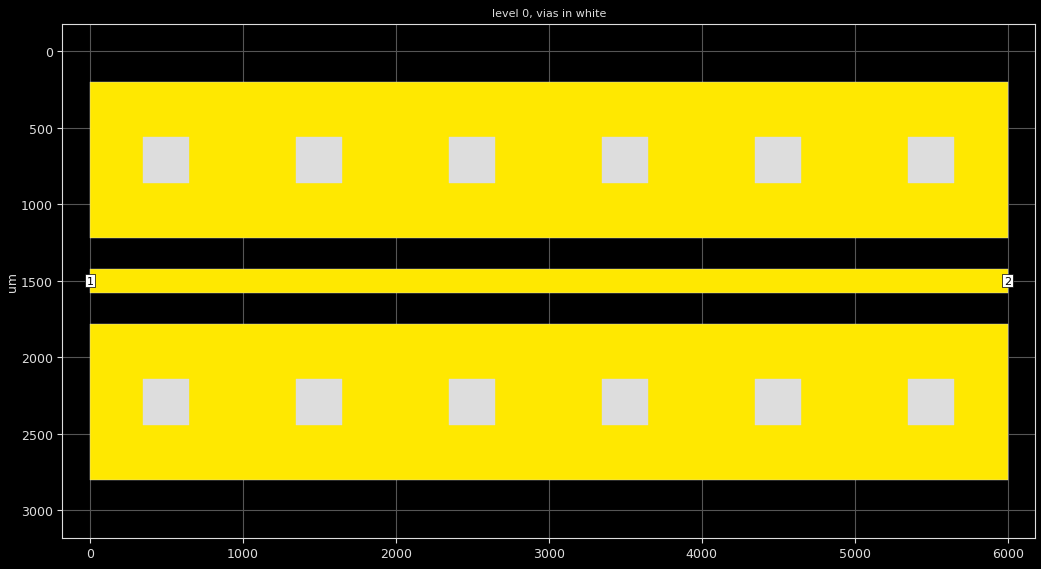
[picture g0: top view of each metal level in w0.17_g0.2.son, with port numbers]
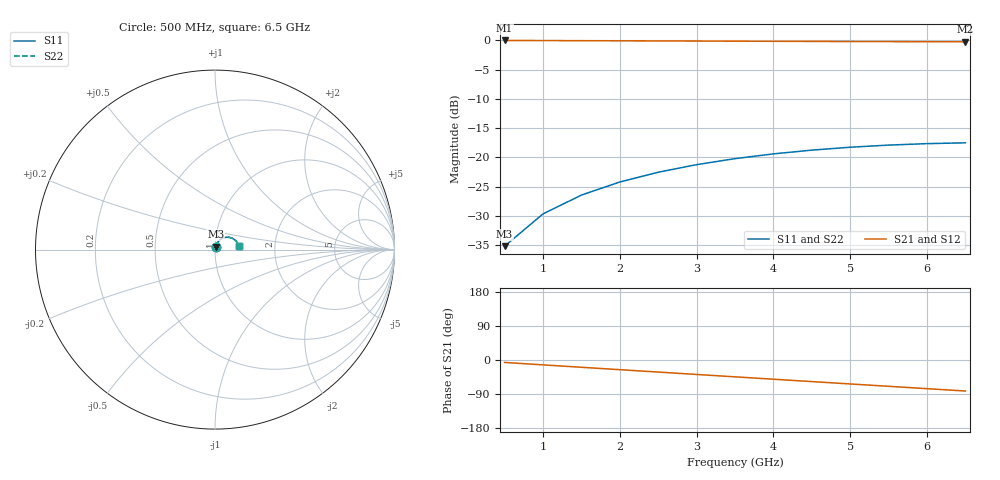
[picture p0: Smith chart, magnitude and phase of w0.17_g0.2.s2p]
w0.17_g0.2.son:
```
FTYP SONPROJ 1 ! Sonnet Project File
VER 19.54
HEADER
END HEADER
DIM
FREQ GHZ
IND NH
LNG UM
ANG DEG
CON /OH
CAP PF
RES OH
END DIM
FREQ
SWEEP 0.5 6.5 0.5
END FREQ
CONTROL
STD
OPTIONS  -d
SPEED 0
END CONTROL
GEO
TMET "Lossless" 0 SUP 0 0 0 0
BMET "Lossless" 0 SUP 0 0 0 0
MET "Cu35" 1 NOR 5.8e7 0 35
BOX 1 6000.0 3000.0 600 300 20 0
      1000.0 1 1 0 0 0 0 "Air"
      99.4 4.1000 1 0.0200 0 0 0 "PP3313"
POR1 STD
POLY 1 1
3
1 50 0 0 0 0.0 1500.0
POR1 STD
POLY 1 1
1
2 50 0 0 0 6000.0 1500.0
NUM 15
0 5 0 N 1 1 1 100 100 0 0 0 Y
0.0 1420.0
6000.0 1420.0
6000.0 1580.0
0.0 1580.0
0.0 1420.0
END
0 5 0 N 2 1 1 100 100 0 0 0 Y
0.0 200.0
6000.0 200.0
6000.0 1220.0
0.0 1220.0
0.0 200.0
END
0 5 0 N 3 1 1 100 100 0 0 0 Y
0.0 1780.0
6000.0 1780.0
6000.0 2800.0
0.0 2800.0
0.0 1780.0
END
VIA POLYGON
0 5 0 V 100 1 1 100 100 0 0 0 Y
TOLEVEL GND RING COVERS
350.0 560.0
650.0 560.0
650.0 860.0
350.0 860.0
350.0 560.0
END
VIA POLYGON
0 5 0 V 101 1 1 100 100 0 0 0 Y
TOLEVEL GND RING COVERS
350.0 2140.0
650.0 2140.0
650.0 2440.0
350.0 2440.0
350.0 2140.0
END
VIA POLYGON
0 5 0 V 102 1 1 100 100 0 0 0 Y
TOLEVEL GND RING COVERS
1350.0 560.0
1650.0 560.0
1650.0 860.0
1350.0 860.0
1350.0 560.0
END
VIA POLYGON
0 5 0 V 103 1 1 100 100 0 0 0 Y
TOLEVEL GND RING COVERS
1350.0 2140.0
1650.0 2140.0
1650.0 2440.0
1350.0 2440.0
1350.0 2140.0
END
VIA POLYGON
0 5 0 V 104 1 1 100 100 0 0 0 Y
TOLEVEL GND RING COVERS
2350.0 560.0
2650.0 560.0
2650.0 860.0
2350.0 860.0
2350.0 560.0
END
VIA POLYGON
0 5 0 V 105 1 1 100 100 0 0 0 Y
TOLEVEL GND RING COVERS
2350.0 2140.0
2650.0 2140.0
2650.0 2440.0
2350.0 2440.0
2350.0 2140.0
END
VIA POLYGON
0 5 0 V 106 1 1 100 100 0 0 0 Y
TOLEVEL GND RING COVERS
3350.0 560.0
3650.0 560.0
3650.0 860.0
3350.0 860.0
3350.0 560.0
END
VIA POLYGON
0 5 0 V 107 1 1 100 100 0 0 0 Y
TOLEVEL GND RING COVERS
3350.0 2140.0
3650.0 2140.0
3650.0 2440.0
3350.0 2440.0
3350.0 2140.0
END
VIA POLYGON
0 5 0 V 108 1 1 100 100 0 0 0 Y
TOLEVEL GND RING COVERS
4350.0 560.0
4650.0 560.0
4650.0 860.0
4350.0 860.0
4350.0 560.0
END
VIA POLYGON
0 5 0 V 109 1 1 100 100 0 0 0 Y
TOLEVEL GND RING COVERS
4350.0 2140.0
4650.0 2140.0
4650.0 2440.0
4350.0 2440.0
4350.0 2140.0
END
VIA POLYGON
0 5 0 V 110 1 1 100 100 0 0 0 Y
TOLEVEL GND RING COVERS
5350.0 560.0
5650.0 560.0
5650.0 860.0
5350.0 860.0
5350.0 560.0
END
VIA POLYGON
0 5 0 V 111 1 1 100 100 0 0 0 Y
TOLEVEL GND RING COVERS
5350.0 2140.0
5650.0 2140.0
5650.0 2440.0
5350.0 2440.0
5350.0 2140.0
END
END GEO
FILEOUT
TS D Y $BASENAME.s2p 15 S RI R 50.00000
END FILEOUT
```
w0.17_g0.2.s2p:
! Sonnet Data File
! From: em Version : 19.54.2026
! From Project: w0.17_g0.2
! Data is De-embedded
! Data File Written: 11/09/2026 23:38:33
!< HDATE 11/09/2026 23:37:32
!< MDATE 11/09/2026 23:37:32
# GHZ S RI R 50.00000
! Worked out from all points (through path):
!   13 points, 500 MHz to 6.5 GHz, reference 50 ohm
!   highest |S21| = -0.03 dB at 500 MHz (marker M1); lowest = -0.3 dB at 6.5 GHz (marker M2)
!   group delay of S21, straight-line fit = 34.9 ps
!   lowest |S11| = -35.2 dB at 500 MHz (marker M3), VSWR 1.04, Z = 50.3 + j1.71 ohm
!   |S11| at or under -10 dB: start of sweep to end of sweep
!   |S22| runs from -35.2 to -17.5 dB; largest |S21 - S12| = 1.2e-12
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0.5  0.00365 0.017  0.9901 -0.1122  0.9901 -0.1122  0.00365 0.017
1  0.00919 0.0315  0.9693 -0.2209  0.9693 -0.2209  0.00919 0.0315
1.5  0.0174 0.0442  0.9367 -0.3261  0.9367 -0.3261  0.0174 0.0442
2  0.0281 0.0547  0.8929 -0.4265  0.8929 -0.4265  0.0281 0.0547
2.5  0.0405 0.0625  0.8386 -0.5209  0.8386 -0.5209  0.0405 0.0625
3  0.0543 0.0673  0.7745 -0.6084  0.7745 -0.6084  0.0543 0.0673
3.5  0.0686 0.069  0.7015 -0.6879  0.7015 -0.6879  0.0686 0.069
4.5  0.0963 0.063  0.5331 -0.8198  0.5331 -0.8198  0.0963 0.063
5  0.1084 0.0557  0.4399 -0.871  0.4399 -0.871  0.1084 0.0557
6  0.1262 0.0343  0.2409 -0.9418  0.2409 -0.9418  0.1262 0.0343
6.5  0.1312 0.0213  0.1374 -0.9608  0.1374 -0.9608  0.1312 0.0213
